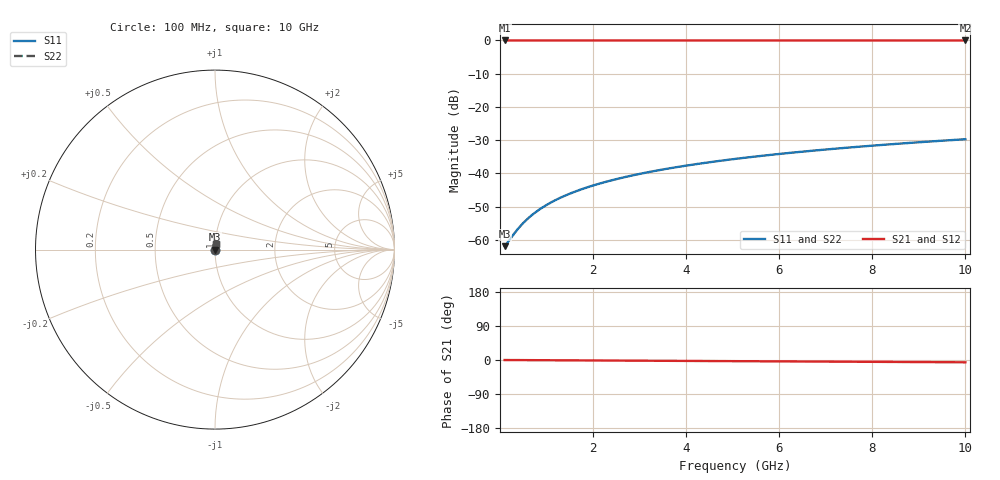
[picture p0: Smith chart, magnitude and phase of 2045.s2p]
# Hz S RI R 50.00
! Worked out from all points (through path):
!   100 points, 100 MHz to 10 GHz, reference 50 ohm
!   highest |S21| = -0.01 dB at 100 MHz (marker M1); lowest = 0.0 dB at 10 GHz (marker M2)
!   lowest |S11| = -61.8 dB at 100 MHz (marker M3), VSWR 1.00, Z = 50.1 + j0.0327 ohm
!   |S11| at or under -10 dB: start of sweep to end of sweep
!   |S22| runs from -61.8 to -29.7 dB; largest |S21 - S12| = 0
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1e8  0.000739 0.000327  0.9993 -0.00105  0.9993 -0.00105  0.000739 0.000327
2e8  0.000745 0.000654  0.9993 -0.00211  0.9993 -0.00211  0.000745 0.000654
3e8  0.00075 0.00098  0.9992 -0.00316  0.9992 -0.00316  0.00075 0.00098
4e8  0.000755 0.00131  0.9992 -0.00421  0.9992 -0.00421  0.000755 0.00131
5e8  0.00076 0.00163  0.9992 -0.00527  0.9992 -0.00527  0.00076 0.00163
6e8  0.000766 0.00196  0.9992 -0.00632  0.9992 -0.00632  0.000766 0.00196
7e8  0.000772 0.00229  0.9992 -0.00738  0.9992 -0.00738  0.000772 0.00229
8e8  0.000779 0.00261  0.9992 -0.00843  0.9992 -0.00843  0.000779 0.00261
1e9  0.000794 0.00327  0.9992 -0.0105  0.9992 -0.0105  0.000794 0.00327
1.2e9  0.000812 0.00392  0.9991 -0.0126  0.9991 -0.0126  0.000812 0.00392
1.5e9  0.000843 0.0049  0.9991 -0.0158  0.9991 -0.0158  0.000843 0.0049
1.8e9  0.00088 0.00588  0.999 -0.019  0.999 -0.019  0.00088 0.00588
2.1e9  0.000922 0.00686  0.9989 -0.0221  0.9989 -0.0221  0.000922 0.00686
2.5e9  0.000989 0.00816  0.9988 -0.0263  0.9988 -0.0263  0.000989 0.00816
2.9e9  0.00107 0.00947  0.9987 -0.0306  0.9987 -0.0306  0.00107 0.00947
3.4e9  0.00118 0.0111  0.9985 -0.0358  0.9985 -0.0358  0.00118 0.0111
4.2e9  0.00139 0.0137  0.9981 -0.0443  0.9981 -0.0443  0.00139 0.0137
5.1e9  0.00168 0.0166  0.9976 -0.0538  0.9976 -0.0538  0.00168 0.0166
5.9e9  0.00199 0.0192  0.997 -0.0622  0.997 -0.0622  0.00199 0.0192
6.7e9  0.00234 0.0218  0.9964 -0.0706  0.9964 -0.0706  0.00234 0.0218
8.4e9  0.00324 0.0273  0.9948 -0.0885  0.9948 -0.0885  0.00324 0.0273
1e10  0.00426 0.0325  0.993 -0.1054  0.993 -0.1054  0.00426 0.0325
